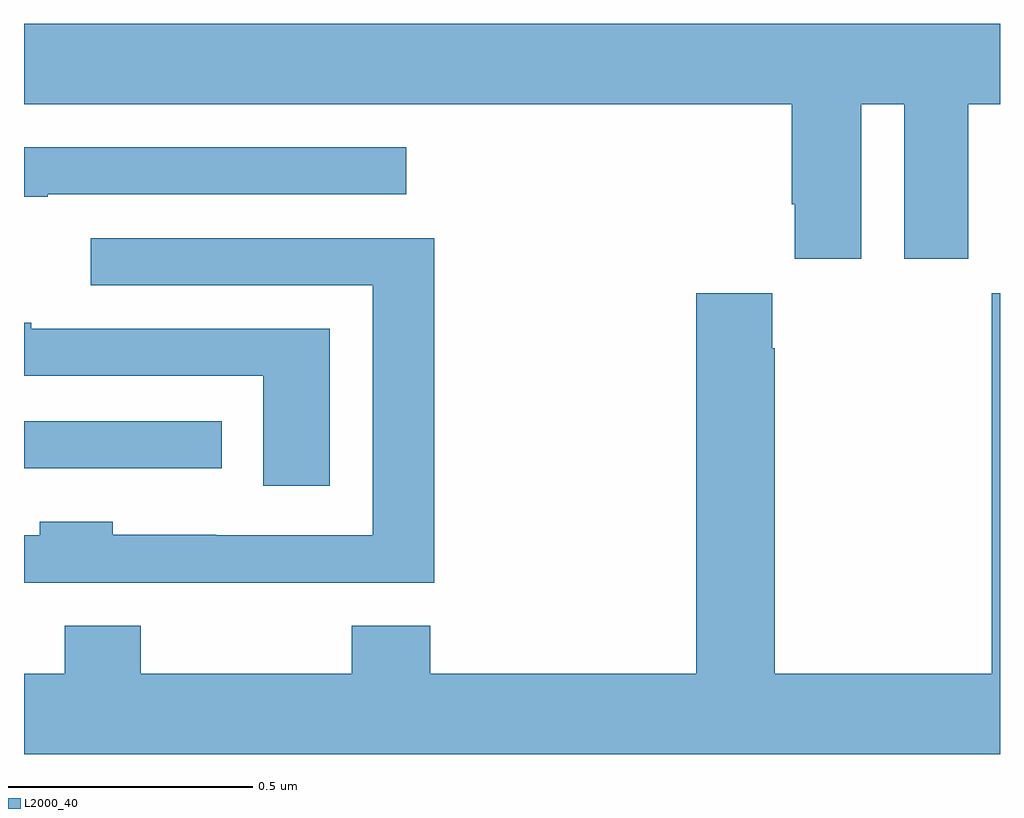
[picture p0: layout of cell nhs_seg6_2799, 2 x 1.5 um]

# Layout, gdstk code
import gdstk
lib = gdstk.Library(unit=1e-6, precision=1e-09)
def R(c, l, rs):  # rectangles x0, y0, x1, y1
    for r in rs: c.add(gdstk.rectangle(r[:2], r[2:], *l))
def P(c, l, *ps):  # polygons
    for p in ps: c.add(gdstk.Polygon(p, *l))
L2000_40 = (2000, 40)

nhs_seg6_2799 = lib.new_cell('nhs_seg6_2799')
R(nhs_seg6_2799, L2000_40, [(148,954.582,148.405,954.678)])
P(nhs_seg6_2799, L2000_40, [(149.716,955.328),(149.804,955.328),(149.804,955.011),(149.935,955.011),(149.935,955.328),(150,955.328),(150,955.492),(148,955.492),(148,955.328),(149.573,955.328),(149.573,955.123),(149.579,955.123),(149.579,955.011),(149.716,955.011)],
  [(148.049,955.143),(148.783,955.143),(148.783,955.239),(148,955.239),(148,955.138),(148.049,955.138)],
  [(148.841,955.053),(148.137,955.053),(148.137,954.957),(148.715,954.957),(148.715,954.444),(148.394,954.444),(148.394,954.445),(148.182,954.445),(148.182,954.472),(148.032,954.472),(148.032,954.444),(148,954.444),(148,954.347),(148.841,954.347)],
  [(150,954.94),(149.983,954.94),(149.983,954.16),(149.538,954.16),(149.538,954.827),(149.533,954.827),(149.533,954.94),(149.378,954.94),(149.378,954.16),(148.832,954.16),(148.832,954.259),(148.672,954.259),(148.672,954.16),(148.239,954.16),(148.239,954.259),(148.084,954.259),(148.084,954.16),(148,954.16),(148,953.996),(150,953.996)],
  [(148.627,954.867),(148.015,954.867),(148.015,954.88),(148,954.88),(148,954.771),(148.49,954.771),(148.49,954.546),(148.627,954.546)])

lib.write_gds('nhs_seg6_2799.gds')
